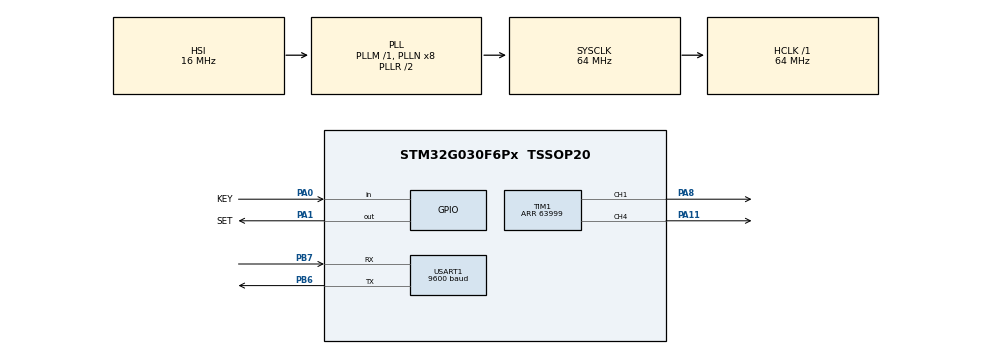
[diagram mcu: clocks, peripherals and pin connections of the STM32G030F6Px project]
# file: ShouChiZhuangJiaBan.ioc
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Mcu.Family=STM32G0
Mcu.Name=STM32G030F6Px
Mcu.Package=TSSOP20
NVIC.USART1_IRQn=true\:0\:0\:false\:false\:true\:true\:true\:true
PA0.GPIO_Label=KEY
PA0.GPIO_PuPd=GPIO_PULLUP
PA0.Signal=GPIO_Input
PA1.GPIO_Label=SET
PA1.Signal=GPIO_Output
PA11\ [PA9].Signal=S_TIM1_CH4
PA13.Mode=Serial_Wire
PA13.Signal=SYS_SWDIO
PA14-BOOT0.Mode=Serial_Wire
PA14-BOOT0.Signal=SYS_SWCLK
PA14-BOOT0__PA15.StandardMode=true
PA8.Signal=S_TIM1_CH1
PB0__PB1__PB2__PA8.StandardMode=true
PB3__PB4__PB5__PB6.StandardMode=true
PB6.Mode=Asynchronous
PB6.Signal=USART1_TX
PB7.Mode=Asynchronous
PB7.Signal=USART1_RX
PB7__PB8.StandardMode=true
PC14-OSC32_IN\ (PC14)__PB9.StandardMode=true
ProjectManager.HeapSize=0x200
ProjectManager.StackSize=0x400
ProjectManager.TargetToolchain=MDK-ARM V5.32
RCC.ADCFreq_Value=64000000
RCC.AHBFreq_Value=64000000
RCC.CortexFreq_Value=64000000
RCC.EXTERNAL_CLOCK_VALUE=12288000
RCC.HCLKFreq_Value=64000000
RCC.HSE_VALUE=8000000
RCC.HSI_VALUE=16000000
RCC.LSE_VALUE=32768
RCC.SYSCLKFreq_VALUE=64000000
RCC.SYSCLKSource=RCC_SYSCLKSOURCE_PLLCLK
RCC.VCOOutputFreq_Value=128000000
SH.S_TIM1_CH1.0=TIM1_CH1,PWM Generation1 CH1
SH.S_TIM1_CH4.0=TIM1_CH4,PWM Generation4 CH4
TIM1.Channel-PWM\ Generation1\ CH1=TIM_CHANNEL_1
TIM1.Channel-PWM\ Generation4\ CH4=TIM_CHANNEL_4
TIM1.Period=63999
USART1.BaudRate=9600
USART1.VirtualMode-Asynchronous=VM_ASYNC
VP_TIM1_VS_ClockSourceINT.Mode=Internal
board=custom

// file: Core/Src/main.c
/* USER CODE BEGIN Header */
/**
  ******************************************************************************
  * @file           : main.c
  * @brief          : RS485通信终极修复版 - 解决接收方死锁
  ******************************************************************************
  */
/* USER CODE END Header */
#include "main.h"
#include "tim.h"
#include "usart.h"
#include "gpio.h"

/* USER CODE BEGIN PTD */
typedef enum {STATE_OFF=0, STATE_RED, STATE_BLUE} LightState_t;
/* USER CODE END PTD */

/* USER CODE BEGIN PD */
// 设备ID：编译时修改 (1,2,3,4)
#define MY_ID 5

// 系统参数
#define PWM_MAX 63999
#define FRAME_START 0xAA
#define BROADCAST_ADDR 0xFF
#define CMD_SET_STATE 0x01
#define DEBOUNCE_MS 20
#define FRAME_SIZE 4

// 调试引脚定义
#define DEBUG_TX_PIN GPIO_PIN_2  // PA2 - 发送指示
#define DEBUG_RX_PIN GPIO_PIN_3  // PA3 - 接收指示

// 按键宏定义
#ifndef KEY_Pin
  #define KEY_Pin GPIO_PIN_0
  #define KEY_GPIO_Port GPIOA
#endif

#ifndef SET_Pin
  #define SET_Pin GPIO_PIN_1
  #define SET_GPIO_Port GPIOA
#endif
/* USER CODE END PD */

/* USER CODE BEGIN PV */
// 全局变量
volatile LightState_t state = STATE_RED;

// RS485接收相关 - 简化设计
static uint8_t rx_byte;
static uint8_t rx_buf[FRAME_SIZE];
static uint8_t rx_index = 0;
static uint8_t expecting_frame = 0;  // 0=等待帧头, 1=接收数据

// 事件标志
volatile uint8_t frame_received = 0;
volatile uint8_t need_blink = 0;

// 调试计数
volatile uint32_t tx_count = 0;
volatile uint32_t rx_count = 0;
/* USER CODE END PV */

void SystemClock_Config(void);
/* USER CODE BEGIN PFP */
void UpdateLEDs(void);
void SendState(LightState_t s);
void ProcessReceivedFrame(void);
void UART_StartReceive(void);
/* USER CODE END PFP */

int main(void)
{
  HAL_Init();
  SystemClock_Config();
  MX_GPIO_Init();
  MX_TIM1_Init();
  MX_USART1_UART_Init();

  /* USER CODE BEGIN 2 */
  // 初始化调试引脚
  __HAL_RCC_GPIOA_CLK_ENABLE();
  GPIO_InitTypeDef GPIO_InitStruct = {0};
  GPIO_InitStruct.Pin = DEBUG_TX_PIN | DEBUG_RX_PIN;
  GPIO_InitStruct.Mode = GPIO_MODE_OUTPUT_PP;
  GPIO_InitStruct.Pull = GPIO_NOPULL;
  GPIO_InitStruct.Speed = GPIO_SPEED_FREQ_LOW;
  HAL_GPIO_Init(GPIOA, &GPIO_InitStruct);
  HAL_GPIO_WritePin(GPIOA, DEBUG_TX_PIN, GPIO_PIN_RESET);
  HAL_GPIO_WritePin(GPIOA, DEBUG_RX_PIN, GPIO_PIN_RESET);

  // 启动PWM
  HAL_TIM_PWM_Start(&htim1, TIM_CHANNEL_1);
  HAL_TIM_PWM_Start(&htim1, TIM_CHANNEL_4);

  // 设置初始状态
  UpdateLEDs();

  // 启动串口接收
  UART_StartReceive();

  // RS485初始为接收模式
  HAL_GPIO_WritePin(SET_GPIO_Port, SET_Pin, GPIO_PIN_RESET);

  // 按键状态跟踪变量
  uint8_t last_key_state = 1;  // 1=释放, 0=按下
  uint32_t key_press_time = 0;
  uint8_t key_processed = 0;   // 按键已处理标志

  // 程序运行指示
  for(int i=0; i<3; i++)
  {
    HAL_GPIO_TogglePin(GPIOA, DEBUG_TX_PIN);
    HAL_Delay(100);
  }
  HAL_GPIO_WritePin(GPIOA, DEBUG_TX_PIN, GPIO_PIN_RESET);
  /* USER CODE END 2 */

  /* Infinite loop */
  while(1)
  {
    // 1. 处理接收到的数据帧
    if(frame_received)
    {
      frame_received = 0;
      ProcessReceivedFrame();
    }

    // 2. 处理LED闪烁指示
    if(need_blink)
    {
      need_blink = 0;

      // 保存当前亮度
      uint16_t saved_red = __HAL_TIM_GET_COMPARE(&htim1, TIM_CHANNEL_1);
      uint16_t saved_blue = __HAL_TIM_GET_COMPARE(&htim1, TIM_CHANNEL_4);

      // 闪烁
      __HAL_TIM_SET_COMPARE(&htim1, TIM_CHANNEL_1, 0);
      __HAL_TIM_SET_COMPARE(&htim1, TIM_CHANNEL_4, 0);
      HAL_Delay(20);

      // 恢复
      __HAL_TIM_SET_COMPARE(&htim1, TIM_CHANNEL_1, saved_red);
      __HAL_TIM_SET_COMPARE(&htim1, TIM_CHANNEL_4, saved_blue);
    }

    // 3. 轮询检测按键
    uint8_t current_key_state = HAL_GPIO_ReadPin(KEY_GPIO_Port, KEY_Pin);

    // 检测下降沿（按键按下）
    if(last_key_state == 1 && current_key_state == 0)
    {
      key_press_time = HAL_GetTick();
      key_processed = 0;  // 重置处理标志
    }

    // 检测上升沿（按键释放）且按下时间>20ms
    if(last_key_state == 0 && current_key_state == 1)
    {
      if(!key_processed && (HAL_GetTick() - key_press_time) > DEBOUNCE_MS)
      {
        // 按键有效，切换状态
        state = (state + 1) % 3;
        UpdateLEDs();

        // 发送状态到总线
        SendState(state);

        // 标记已处理
        key_processed = 1;

        // 防连按延时
        HAL_Delay(200);
      }
    }

    // 更新按键状态
    last_key_state = current_key_state;

    // 4. 程序运行指示 - DEBUG_TX_PIN每3秒闪烁一次
    static uint32_t last_blink_time = 0;
    if(HAL_GetTick() - last_blink_time > 3000)
    {
      last_blink_time = HAL_GetTick();
      HAL_GPIO_TogglePin(GPIOA, DEBUG_TX_PIN);
    }

    // 短暂延时
    HAL_Delay(1);
  }
}

void SystemClock_Config(void)
{
  RCC_OscInitTypeDef RCC_OscInitStruct = {0};
  RCC_ClkInitTypeDef RCC_ClkInitStruct = {0};

  HAL_PWREx_ControlVoltageScaling(PWR_REGULATOR_VOLTAGE_SCALE1);

  RCC_OscInitStruct.OscillatorType = RCC_OSCILLATORTYPE_HSI;
  RCC_OscInitStruct.HSIState = RCC_HSI_ON;
  RCC_OscInitStruct.HSIDiv = RCC_HSI_DIV1;
  RCC_OscInitStruct.HSICalibrationValue = RCC_HSICALIBRATION_DEFAULT;
  RCC_OscInitStruct.PLL.PLLState = RCC_PLL_ON;
  RCC_OscInitStruct.PLL.PLLSource = RCC_PLLSOURCE_HSI;
  RCC_OscInitStruct.PLL.PLLM = RCC_PLLM_DIV1;
  RCC_OscInitStruct.PLL.PLLN = 8;
  RCC_OscInitStruct.PLL.PLLP = RCC_PLLP_DIV2;
  RCC_OscInitStruct.PLL.PLLR = RCC_PLLR_DIV2;
  if(HAL_RCC_OscConfig(&RCC_OscInitStruct) != HAL_OK)
  {
    Error_Handler();
  }

  RCC_ClkInitStruct.ClockType = RCC_CLOCKTYPE_HCLK|RCC_CLOCKTYPE_SYSCLK|RCC_CLOCKTYPE_PCLK1;
  RCC_ClkInitStruct.SYSCLKSource = RCC_SYSCLKSOURCE_PLLCLK;
  RCC_ClkInitStruct.AHBCLKDivider = RCC_SYSCLK_DIV1;
  RCC_ClkInitStruct.APB1CLKDivider = RCC_HCLK_DIV1;

  if(HAL_RCC_ClockConfig(&RCC_ClkInitStruct, FLASH_LATENCY_2) != HAL_OK)
  {
    Error_Handler();
  }
}

/* USER CODE BEGIN 4 */
/**
  * @brief 串口接收回调 - 简化版，避免复杂状态机
  * @param huart: UART句柄
  * @retval None
  */
void HAL_UART_RxCpltCallback(UART_HandleTypeDef *huart)
{
  if(huart->Instance == USART1)
  {
    // 接收指示
    HAL_GPIO_WritePin(GPIOA, DEBUG_RX_PIN, GPIO_PIN_SET);

    if(rx_byte == FRAME_START)
    {
      // 收到帧头，开始接收
      expecting_frame = 1;
      rx_index = 0;
      rx_buf[rx_index++] = rx_byte;
    }
    else if(expecting_frame && rx_index < FRAME_SIZE)
    {
      // 接收数据字节
      rx_buf[rx_index++] = rx_byte;

      if(rx_index >= FRAME_SIZE)
      {
        // 收到完整帧
        expecting_frame = 0;
        frame_received = 1;  // 通知主循环处理
      }
    }
    else
    {
      // 未同步到有效帧，重置
      expecting_frame = 0;
      rx_index = 0;
    }

    // 接收指示关闭
    HAL_GPIO_WritePin(GPIOA, DEBUG_RX_PIN, GPIO_PIN_RESET);

    // 重新启动接收 - 必须确保执行
    HAL_UART_Receive_IT(&huart1, &rx_byte, 1);
  }
}

/**
  * @brief 启动串口接收
  * @retval None
  */
void UART_StartReceive(void)
{
  expecting_frame = 0;
  rx_index = 0;
  frame_received = 0;
  HAL_UART_Receive_IT(&huart1, &rx_byte, 1);
}

/**
  * @brief 更新LED状态
  * @retval None
  */
void UpdateLEDs(void)
{
  switch(state)
  {
    case STATE_OFF:
      __HAL_TIM_SET_COMPARE(&htim1, TIM_CHANNEL_1, 0);
      __HAL_TIM_SET_COMPARE(&htim1, TIM_CHANNEL_4, 0);
      break;
    case STATE_RED:
      __HAL_TIM_SET_COMPARE(&htim1, TIM_CHANNEL_1, PWM_MAX);
      __HAL_TIM_SET_COMPARE(&htim1, TIM_CHANNEL_4, 0);
      break;
    case STATE_BLUE:
      __HAL_TIM_SET_COMPARE(&htim1, TIM_CHANNEL_1, 0);
      __HAL_TIM_SET_COMPARE(&htim1, TIM_CHANNEL_4, PWM_MAX);
      break;
  }
}

/**
  * @brief 发送状态到RS485总线
  * @param s: 要发送的状态
  * @retval None
  */
void SendState(LightState_t s)
{
  uint8_t tx[4] = {FRAME_START, BROADCAST_ADDR, CMD_SET_STATE, (uint8_t)s};

  // 发送指示
  HAL_GPIO_WritePin(GPIOA, DEBUG_TX_PIN, GPIO_PIN_SET);

  // 切换到发送模式
  HAL_GPIO_WritePin(SET_GPIO_Port, SET_Pin, GPIO_PIN_SET);
  HAL_Delay(1);

  // 发送数据
  HAL_UART_Transmit(&huart1, tx, 4, 100);
  tx_count++;

  // 等待发送完成
  while(__HAL_UART_GET_FLAG(&huart1, UART_FLAG_TC) == RESET);
  HAL_Delay(1);

  // 切换回接收模式
  HAL_GPIO_WritePin(SET_GPIO_Port, SET_Pin, GPIO_PIN_RESET);

  // 发送指示关闭
  HAL_Delay(10);
  HAL_GPIO_WritePin(GPIOA, DEBUG_TX_PIN, GPIO_PIN_RESET);
}

/**
  * @brief 处理接收到的数据帧（在主循环中调用）
  * @retval None
  */
void ProcessReceivedFrame(void)
{
  uint8_t* f = rx_buf;

  // 验证帧头
  if(f[0] != FRAME_START)
  {
    return;
  }

  // 验证目标地址：广播或本机ID
  uint8_t target_addr = f[1];
  if(target_addr != BROADCAST_ADDR && target_addr != MY_ID)
  {
    return;
  }

  // 验证命令
  if(f[2] != CMD_SET_STATE)
  {
    return;
  }

  // 获取新状态
  uint8_t new_state = f[3];

  // 验证状态值是否有效
  if(new_state <= STATE_BLUE)
  {
    // 更新状态
    state = (LightState_t)new_state;
    UpdateLEDs();
    rx_count++;

    // 设置闪烁标志
    need_blink = 1;
  }
}
/* USER CODE END 4 */

void Error_Handler(void)
{
  // 不要关闭全局中断！
  while(1)
  {
    // 错误指示：快速闪烁DEBUG_TX_PIN
    HAL_GPIO_TogglePin(GPIOA, DEBUG_TX_PIN);
    HAL_Delay(50);
  }
}
